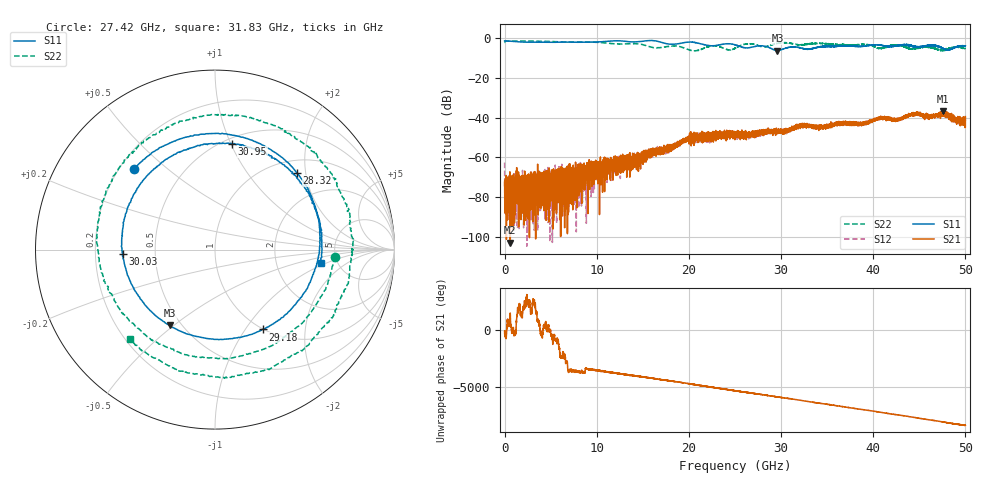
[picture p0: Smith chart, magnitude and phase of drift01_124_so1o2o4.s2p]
!Created with skrf (http://scikit-rf.org).
# Hz S RI R 50.0
!freq ReS11 ImS11 ReS21 ImS21 ReS12 ImS12 ReS22 ImS22
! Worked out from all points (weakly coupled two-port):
!   10001 points, 300 kHz to 50 GHz, reference 50 ohm
!   highest |S21| = -36.59 dB at 47.56 GHz (marker M1); lowest = -102.9 dB at 615.3 MHz (marker M2)
!   lowest |S11| = -6.2 dB at 29.61 GHz (marker M3), VSWR 2.93, Z = 21.7 - j24.2 ohm
!   |S11| at or under -10 dB: nowhere
!   |S22| runs from -6.4 to -1.4 dB; largest |S21 - S12| = 0.004
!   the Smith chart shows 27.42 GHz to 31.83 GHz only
!   S11 on the Smith chart (normalised r, x): 27.42 GHz: 0.26, +0.39; 28.32 GHz: 1.28, +1.78; 29.18 GHz: 0.99, -1.20; 30.03 GHz: 0.32, -0.02; 30.95 GHz: 0.55, +1.01; 31.83 GHz: 3.70, -0.86
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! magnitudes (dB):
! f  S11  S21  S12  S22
! 300 kHz  -1.3  -74.3  -62.6  -2.1
! 255.3 MHz  -1.4  -71.5  -90.3  -1.4
! 615.3 MHz  -1.4  -102.9  -88.6  -1.5
! 1.405 GHz  -1.7  -70.2  -80.7  -1.4
! 2.185 GHz  -1.9  -69.5  -82.4  -1.4
! 5.395 GHz  -2.0  -66.6  -75.7  -1.7
! 8.335 GHz  -2.0  -65.5  -68.2  -1.8
! 16.67 GHz  -1.6  -56.1  -57.2  -4.8
! 20.29 GHz  -1.9  -48.3  -50.3  -6.1
! 22.62 GHz  -3.8  -47.9  -49.7  -3.8
! 25 GHz  -3.3  -48.6  -48.3  -5.1
! 27.42 GHz  -3.9  -48.3  -49.0  -3.5
! 28.32 GHz  -4.1  -46.3  -47.5  -4.3
! 29.18 GHz  -5.7  -46.5  -47.4  -3.0
! 29.61 GHz  -6.2  -47.4  -46.6  -2.5
! 30.03 GHz  -5.8  -46.2  -46.5  -2.4
! 30.95 GHz  -4.5  -45.1  -46.6  -2.5
! 31.83 GHz  -4.5  -43.5  -44.7  -3.3
! 33.34 GHz  -5.3  -44.1  -44.1  -2.7
! 41.67 GHz  -4.3  -40.5  -40.1  -4.1
! 47.56 GHz  -5.0  -36.6  -38.2  -5.7
! 50 GHz  -3.8  -39.5  -41.7  -5.4
